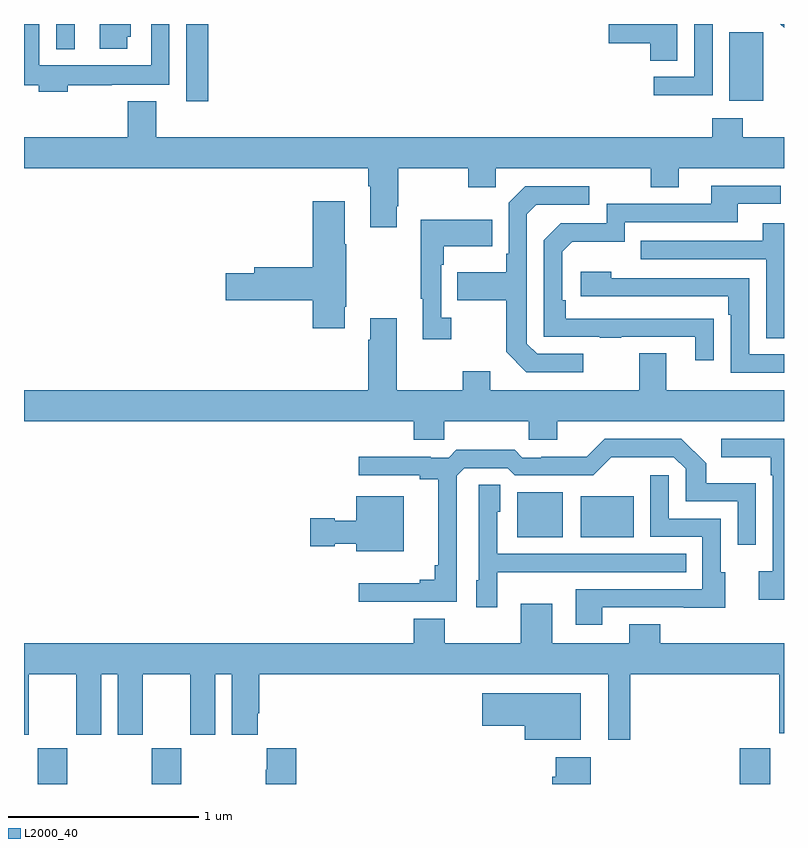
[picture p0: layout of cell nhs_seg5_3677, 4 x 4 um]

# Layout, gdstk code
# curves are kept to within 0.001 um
import gdstk
lib = gdstk.Library(unit=1e-6, precision=1e-09)
def R(c, l, rs):  # rectangles x0, y0, x1, y1
    for r in rs: c.add(gdstk.rectangle(r[:2], r[2:], *l))
def P(c, l, *ps):  # polygons
    for p in ps: c.add(gdstk.Polygon(p, *l))
L2000_40 = (2000, 40)

nhs_seg5_3677 = lib.new_cell('nhs_seg5_3677')
R(nhs_seg5_3677, L2000_40, [(327.073,906.799,327.228,906.988), (327.673,906.799,327.828,906.988), (330.767,906.799,330.927,906.988), (329.597,908.099,329.836,908.335), (329.93,908.099,330.208,908.314), (327.855,910.392,327.971,910.799), (330.713,910.394,330.892,910.755), (327.171,910.667,327.268,910.799)])
P(nhs_seg5_3677, L2000_40, [(327.544,910.731),(327.562,910.731),(327.562,910.799),(327.398,910.799),(327.398,910.668),(327.544,910.668)],
  [(330.439,910.799),(330.078,910.799),(330.078,910.697),(330.296,910.697),(330.296,910.606),(330.439,910.606)],
  [(327.23,910.476),(327.461,910.476),(327.461,910.478),(327.765,910.478),(327.765,910.799),(327.669,910.799),(327.669,910.582),(327.081,910.582),(327.081,910.799),(327,910.799),(327,910.476),(327.077,910.476),(327.077,910.442),(327.23,910.442)],
  [(331,910.799),(330.979,910.799),(331,910.779)],
  [(330.624,910.799),(330.528,910.799),(330.528,910.521),(330.315,910.521),(330.315,910.423),(330.624,910.423)],
  [(328.963,909.841),(328.971,909.841),(328.971,910.04),(329.338,910.04),(329.338,909.941),(329.484,909.941),(329.484,910.04),(330.298,910.04),(330.298,909.941),(330.445,909.941),(330.445,910.04),(331,910.04),(331,910.204),(330.783,910.204),(330.783,910.303),(330.623,910.303),(330.623,910.204),(327.697,910.204),(327.697,910.393),(327.545,910.393),(327.545,910.204),(327,910.204),(327,910.04),(328.811,910.04),(328.811,909.944),(328.823,909.944),(328.823,909.729),(328.963,909.729)],
  [(330.629,909.248),(329.852,909.249),(329.852,909.346),(329.832,909.346),(329.832,909.6),(329.885,909.653),(330.162,909.653),(330.162,909.756),(330.757,909.756),(330.757,909.852),(330.982,909.852),(330.982,909.948),(330.617,909.948),(330.617,909.852),(330.066,909.852),(330.066,909.75),(329.826,909.75),(329.736,909.66),(329.736,909.153),(330.031,909.153),(330.031,909.148),(330.143,909.148),(330.143,909.153),(330.533,909.153),(330.533,909.03),(330.629,909.03)],
  [(329.944,909.063),(329.7,909.063),(329.646,909.117),(329.646,909.798),(329.697,909.849),(329.974,909.849),(329.974,909.945),(329.637,909.945),(329.55,909.858),(329.55,909.589),(329.538,909.589),(329.538,909.493),(329.281,909.493),(329.281,909.346),(329.538,909.346),(329.538,909.073),(329.643,908.967),(329.944,908.967)],
  [(328.687,909.31),(328.695,909.31),(328.695,909.641),(328.687,909.641),(328.687,909.865),(328.52,909.865),(328.52,909.518),(328.211,909.518),(328.211,909.488),(328.062,909.488),(328.062,909.346),(328.52,909.346),(328.52,909.198),(328.687,909.198)],
  [(329.248,909.254),(329.196,909.254),(329.196,909.533),(329.209,909.533),(329.209,909.629),(329.465,909.629),(329.465,909.769),(329.088,909.769),(329.088,909.353),(329.099,909.353),(329.099,909.141),(329.248,909.141)],
  [(331,909.751),(330.887,909.751),(330.887,909.657),(330.247,909.657),(330.247,909.561),(330.906,909.561),(330.906,909.145),(331,909.145)],
  [(331,909.06),(330.816,909.06),(330.816,909.462),(330.092,909.462),(330.092,909.496),(329.931,909.496),(329.931,909.366),(330.707,909.366),(330.707,909.269),(330.72,909.269),(330.72,908.964),(331,908.964)],
  [(329.211,908.708),(329.656,908.708),(329.656,908.61),(329.806,908.61),(329.806,908.708),(331,908.708),(331,908.872),(330.379,908.872),(330.379,909.067),(330.239,909.067),(330.239,908.872),(329.455,908.872),(329.455,908.971),(329.308,908.971),(329.308,908.872),(328.963,908.872),(328.963,909.25),(328.823,909.25),(328.823,909.137),(328.811,909.137),(328.811,908.872),(327,908.872),(327,908.708),(329.051,908.708),(329.051,908.61),(329.211,908.61)],
  [(329.277,908.421),(329.316,908.46),(329.547,908.46),(329.583,908.424),(329.997,908.424),(330.092,908.519),(330.42,908.52),(330.483,908.457),(330.483,908.286),(330.756,908.286),(330.756,908.058),(330.852,908.058),(330.852,908.383),(330.591,908.383),(330.591,908.486),(330.46,908.616),(330.057,908.616),(329.963,908.522),(329.722,908.522),(329.722,908.517),(329.622,908.517),(329.583,908.557),(329.275,908.557),(329.235,908.517),(329.141,908.517),(329.141,908.522),(328.761,908.522),(328.761,908.424),(329.084,908.424),(329.084,908.402),(329.18,908.402),(329.18,907.951),(329.161,907.951),(329.161,907.874),(329.084,907.874),(329.084,907.855),(328.761,907.855),(328.761,907.758),(329.277,907.758)],
  [(331,908.616),(330.669,908.616),(330.669,908.519),(330.93,908.519),(330.93,908.423),(330.942,908.423),(330.942,907.918),(330.867,907.918),(330.867,907.77),(331,907.77)],
  [(330.043,907.728),(330.473,907.728),(330.473,907.727),(330.691,907.727),(330.691,907.914),(330.666,907.914),(330.666,908.196),(330.393,908.196),(330.393,908.425),(330.297,908.425),(330.297,908.1),(330.57,908.1),(330.57,907.824),(329.903,907.824),(329.903,907.638),(330.043,907.638)],
  [(329.49,907.913),(329.807,907.913),(329.807,907.914),(330.485,907.914),(330.485,908.01),(329.49,908.01),(329.49,908.232),(329.506,908.232),(329.506,908.375),(329.394,908.375),(329.394,907.872),(329.381,907.872),(329.381,907.728),(329.49,907.728)],
  [(328.999,908.314),(328.748,908.314),(328.748,908.185),(328.635,908.185),(328.635,908.198),(328.506,908.198),(328.506,908.051),(328.635,908.051),(328.635,908.063),(328.748,908.063),(328.748,908.024),(328.999,908.024)],
  [(330.191,907.376),(330.974,907.376),(330.974,907.067),(331,907.067),(331,907.54),(330.349,907.54),(330.349,907.639),(330.185,907.639),(330.185,907.54),(329.779,907.54),(329.779,907.747),(329.615,907.747),(329.615,907.54),(329.215,907.54),(329.215,907.669),(329.051,907.669),(329.051,907.54),(327,907.54),(327,907.059),(327.025,907.059),(327.025,907.376),(327.275,907.376),(327.275,907.059),(327.406,907.059),(327.406,907.376),(327.494,907.376),(327.494,907.059),(327.625,907.059),(327.625,907.376),(327.875,907.376),(327.875,907.059),(328.006,907.059),(328.006,907.376),(328.094,907.376),(328.094,907.059),(328.231,907.059),(328.231,907.171),(328.238,907.171),(328.238,907.376),(330.074,907.376),(330.074,907.032),(330.191,907.032)],
  [(329.929,907.276),(329.412,907.276),(329.412,907.106),(329.636,907.106),(329.636,907.031),(329.929,907.031)],
  [(328.433,906.988),(328.277,906.988),(328.277,906.875),(328.273,906.875),(328.273,906.799),(328.433,906.799)],
  [(329.983,906.94),(329.799,906.94),(329.799,906.836),(329.779,906.836),(329.779,906.799),(329.983,906.799)])

lib.write_gds('nhs_seg5_3677.gds')
